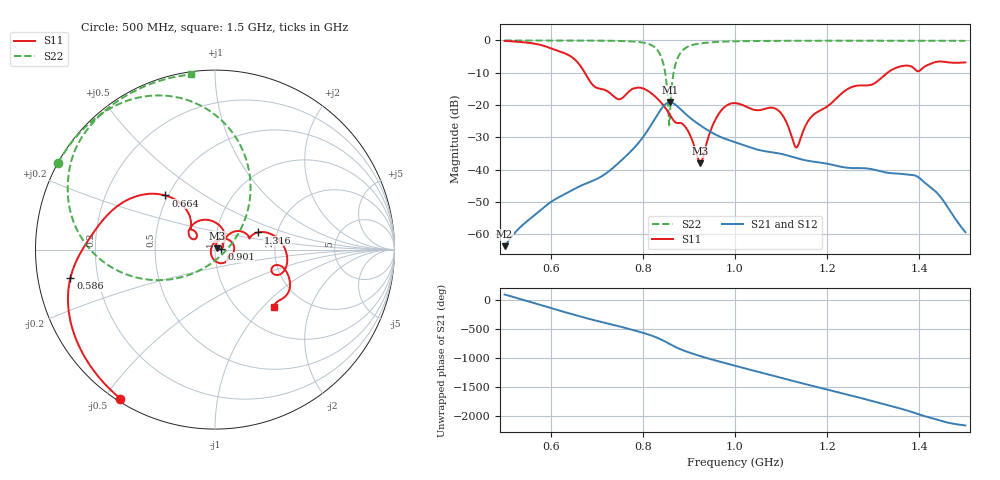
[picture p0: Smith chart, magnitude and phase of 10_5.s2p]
! TOUCHSTONE file generated by CST MICROWAVE STUDIO
! Date and time: Mon Oct 26 12:25:59 2020
! Project name: Scenario_1_Circular_Tissue_out_of_Line.cst
! Parameters = {dy1=-189.931; L_HA=400; MT=2.54; Rad_Dielectric=30; Rad_Lower=7.3; Rad_Upper=30; a_HA=580; a_WG=246; b_HA=500; b_WG=121; c_HA=0; c_WG=187; d_feed=85; dx1=866; h_feed=15; h_lower=18; h_upper=40}
! Header version: 2018
! Port assignment regex: !\s*Touchstone port\s*([0-9]+)\s*=\s*(CST MWS port|CST DS port)\s*([0-9]+|Zmin|Zmax)\s*\(\"(.*)\"\)(\s*mode\s*([0-9]+))?.*
! Touchstone port assignment:
! Touchstone port 1 = CST MWS port 1 ("")
! Touchstone port 2 = CST MWS port 2 ("")
# GHz S DB R 50
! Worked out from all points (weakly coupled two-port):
!   1001 points, 500 MHz to 1.5 GHz, reference 50 ohm
!   highest |S21| = -19.16 dB at 859 MHz (marker M1); lowest = -63.6 dB at 500 MHz (marker M2)
!   lowest |S11| = -37.9 dB at 925 MHz (marker M3), VSWR 1.03, Z = 51 + j0.8 ohm
!   |S11| at or under -10 dB: 674.1 MHz to 1.331 GHz (656.6 MHz wide, 65.5 % of centre)
!   |S22| runs from -26.2 to 0.0 dB; largest |S21 - S12| = 2e-05
!   S11 on the Smith chart (normalised r, x): 500 MHz: 0.01, -0.55; 586 MHz: 0.10, -0.10; 664 MHz: 0.48, +0.35; 901 MHz: 1.07, +0.01; 1.316 GHz: 1.59, +0.32; 1.5 GHz: 1.43, -1.15
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0.5  -0.15 -122.4  -63.64 95.4  -63.64 95.4  -0.01 151.1
0.586  -1.71 -168.9  -51.52 -103.2  -51.52 -103.2  -0.02 145.1
0.664  -7.77 132.4  -45.04 75.9  -45.04 75.9  -0.04 138.6
0.667  -8.38 130.2  -44.85 69.2  -44.85 69.2  -0.04 138.3
0.744  -18.05 143.6  -38.33 -85.7  -38.33 -85.7  -0.14 128.5
0.779  -14.87 144.2  -33.56 -160.0  -33.56 -160.0  -0.33 120.5
0.834  -18.36 69.3  -22.43 57.0  -22.43 57.0  -3.45 82.7
0.847  -20.53 52.9  -19.99 6.6  -19.99 6.6  -8.81 57.2
0.854  -21.94 45.1  -19.29 -23.4  -19.29 -23.4  -17.65 29.0
0.859  -23.06 40.7  -19.16 -45.2  -19.16 -45.2  -22.58 -101.7
0.873  -25.50 38.0  -20.15 -102.0  -20.15 -102.0  -6.37 -161.7
0.901  -28.83 5.8  -23.75 170.3  -23.75 170.3  -1.73 167.0
0.925  -37.95 38.3  -26.30 108.3  -26.30 108.3  -0.92 155.7
0.962  -23.32 58.7  -29.42 23.5  -29.42 23.5  -0.45 146.3
1  -19.40 3.5  -31.48 -58.4  -31.48 -58.4  -0.27 140.1
1.092  -21.44 -63.9  -34.86 110.1  -34.86 110.1  -0.13 130.3
1.133  -33.10 168.2  -36.37 23.8  -36.37 23.8  -0.11 126.9
1.167  -23.44 62.4  -37.42 -43.3  -37.42 -43.3  -0.09 124.1
1.316  -11.79 21.8  -40.49 10.0  -40.50 10.0  -0.08 112.8
1.334  -9.66 14.8  -40.99 -26.6  -40.99 -26.6  -0.08 111.4
1.4  -9.43 -15.9  -42.52 177.6  -42.51 177.6  -0.10 106.2
1.5  -6.80 -44.2  -59.33 -12.4  -59.28 -11.9  -0.13 97.8
